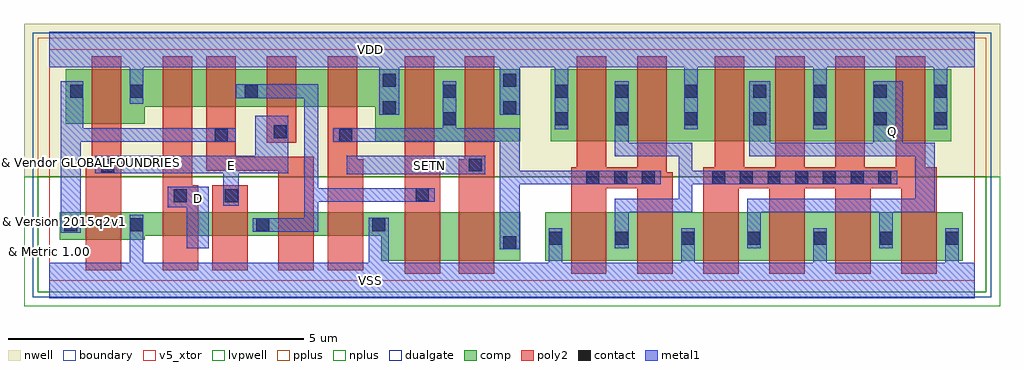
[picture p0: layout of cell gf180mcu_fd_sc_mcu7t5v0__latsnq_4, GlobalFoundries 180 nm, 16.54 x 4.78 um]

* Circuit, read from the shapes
.subckt gf180mcu_fd_sc_mcu7t5v0__latsnq_4 D E Q SETN VDD VSS
XM1 VSS E n1 VSUBS nfet_05v0 w=0.465u l=0.6u
XM2 n2 D VSS VSUBS nfet_05v0 w=0.395u l=0.6u
XM3 n3 E n2 VSUBS nfet_05v0 w=0.395u l=0.6u
XM4 n4 n1 n3 VSUBS nfet_05v0 w=0.395u l=0.6u
XM5 VSS n5 n4 VSUBS nfet_05v0 w=0.395u l=0.6u
XM6 n6 n3 VSS VSUBS nfet_05v0 w=0.82u l=0.6u
XM7 n5 SETN n6 VSUBS nfet_05v0 w=0.82u l=0.6u
XM8 n7 n5 VSS VSUBS nfet_05v0 w=0.82u l=0.6u m=2
XM9 Q n7 VSS VSUBS nfet_05v0 w=0.82u l=0.6u m=4
XM10 VDD E n1 n8 pfet_05v0 w=0.925u l=0.5u
XM11 n9 D VDD n8 pfet_05v0 w=0.63u l=0.5u
XM12 n3 n1 n9 n8 pfet_05v0 w=0.63u l=0.5u
XM13 n10 E n3 n8 pfet_05v0 w=0.63u l=0.5u
XM14 VDD n5 n10 n8 pfet_05v0 w=0.63u l=0.5u
XM15 n5 n3 VDD n8 pfet_05v0 w=1.22u l=0.5u
XM16 VDD SETN n5 n8 pfet_05v0 w=1.22u l=0.5u
XM17 n7 n5 VDD n8 pfet_05v0 w=1.22u l=0.5u m=2
XM18 Q n7 VDD n8 pfet_05v0 w=1.22u l=0.5u m=4
.ends

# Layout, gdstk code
import gdstk
lib = gdstk.Library(unit=1e-6, precision=1e-09)
def R(c, l, rs):  # rectangles x0, y0, x1, y1
    for r in rs: c.add(gdstk.rectangle(r[:2], r[2:], *l))
def A(c, l, x, y, w, h, nx, ny, dx, dy):  # array of equal rectangles
    R(c, l, [(x+i*dx, y+j*dy, x+i*dx+w, y+j*dy+h) for i in range(nx) for j in range(ny)])
def P(c, l, *ps):  # polygons
    for p in ps: c.add(gdstk.Polygon(p, *l))
boundary = (0, 0)
nwell = (21, 0)
comp = (22, 0)
poly2 = (30, 0)
pplus = (31, 0)
nplus = (32, 0)
contact = (33, 0)
metal1 = (34, 0)
dualgate = (55, 0)
v5_xtor = (112, 1)
lvpwell = (204, 0)

gf180mcu_fd_sc_mcu7t5v0_ = lib.new_cell('gf180mcu_fd_sc_mcu7t5v0__latsnq_4')
R(gf180mcu_fd_sc_mcu7t5v0_, boundary, [(0,0,15.68,3.92)])
R(gf180mcu_fd_sc_mcu7t5v0_, nwell, [(-0.43,1.76,16.11,4.35)])
R(gf180mcu_fd_sc_mcu7t5v0_, comp, [(8.4,0.34,15.48,1.16), (8.5,2.36,15.28,3.58)])
P(gf180mcu_fd_sc_mcu7t5v0_, comp, [(5.62,0.34),(5.62,0.765),(1.62,0.765),(1.62,0.695),(0.18,0.695),(0.18,1.16),(7.98,1.16),(7.98,0.34)],
  [(5.52,2.36),(5.52,2.95),(1.62,2.95),(1.62,2.655),(0.28,2.655),(0.28,3.58),(7.98,3.58),(7.98,2.36)])
R(gf180mcu_fd_sc_mcu7t5v0_, poly2, [(2.76,0.175,3.36,1.62), (3.68,2.34,4.18,3.8)])
P(gf180mcu_fd_sc_mcu7t5v0_, poly2, [(0.62,0.175),(0.62,2.065),(0.72,2.065),(0.72,3.8),(1.22,3.8),(1.22,0.175)],
  [(1.92,0.175),(1.92,3.8),(2.42,3.8),(2.42,1.62),(2.52,1.62),(2.52,0.175)],
  [(3.88,0.175),(3.88,1.86),(2.66,1.86),(2.66,3.8),(3.16,3.8),(3.16,2.1),(4.48,2.1),(4.48,0.175)],
  [(4.72,0.175),(4.72,3.8),(5.22,3.8),(5.22,2.06),(5.32,2.06),(5.32,0.175)],
  [(6.02,0.12),(6.02,3.8),(6.52,3.8),(6.52,2.06),(6.62,2.06),(6.62,0.12)],
  [(6.94,0.12),(6.94,2.06),(7.04,2.06),(7.04,3.8),(7.54,3.8),(7.54,0.12)],
  [(8.84,0.12),(8.84,1.925),(8.94,1.925),(8.94,3.8),(9.44,3.8),(9.44,1.925),(9.96,1.925),(9.96,3.8),(10.46,3.8),(10.46,1.84),(10.56,1.84),(10.56,0.12),(9.96,0.12),(9.96,1.565),(9.44,1.565),(9.44,0.12)],
  [(11.08,0.12),(11.08,1.925),(11.28,1.925),(11.28,3.8),(11.78,3.8),(11.78,1.925),(12.3,1.925),(12.3,3.8),(12.8,3.8),(12.8,1.925),(13.32,1.925),(13.32,3.8),(13.82,3.8),(13.82,1.925),(14.34,1.925),(14.34,3.8),(14.84,3.8),(14.84,1.925),(15.04,1.925),(15.04,0.12),(14.44,0.12),(14.44,1.565),(13.92,1.565),(13.92,0.12),(13.32,0.12),(13.32,1.565),(12.8,1.565),(12.8,0.12),(12.2,0.12),(12.2,1.565),(11.68,1.565),(11.68,0.12)])
R(gf180mcu_fd_sc_mcu7t5v0_, pplus, [(-0.2,1.76,15.88,4.12)])
R(gf180mcu_fd_sc_mcu7t5v0_, nplus, [(-0.2,-0.2,15.88,1.76)])
A(gf180mcu_fd_sc_mcu7t5v0_, contact, 8.47, 0.605, 0.22, 0.22, 7, 1, 1.12, 0)
A(gf180mcu_fd_sc_mcu7t5v0_, contact, 9.1, 1.635, 0.22, 0.22, 3, 1, 0.47, 0)
A(gf180mcu_fd_sc_mcu7t5v0_, contact, 11.23, 1.635, 0.22, 0.22, 7, 1, 0.47, 0)
A(gf180mcu_fd_sc_mcu7t5v0_, contact, 9.59, 2.63, 0.22, 0.22, 3, 2, 1.17, 0.47)
A(gf180mcu_fd_sc_mcu7t5v0_, contact, 12.95, 2.63, 0.22, 0.22, 3, 2, 1.02, 0.47)
R(gf180mcu_fd_sc_mcu7t5v0_, contact, [(7.69,0.535,7.91,0.755), (0.25,0.835,0.47,1.055), (1.37,0.835,1.59,1.055), (3.51,0.835,3.73,1.055), (5.47,0.835,5.69,1.055), (2.11,1.33,2.33,1.55), (2.97,1.33,3.19,1.55), (6.21,1.345,6.43,1.565), (0.88,1.84,1.1,2.06), (7.11,1.85,7.33,2.07), (2.8,2.355,3.02,2.575), (4.91,2.355,5.13,2.575), (3.8,2.41,4.02,2.63), (6.67,2.63,6.89,2.85), (8.57,2.63,8.79,2.85), (5.65,2.82,5.87,3.04), (7.69,2.82,7.91,3.04), (0.35,3.1,0.57,3.32), (1.37,3.1,1.59,3.32), (3.31,3.1,3.53,3.32), (6.67,3.1,6.89,3.32), (8.57,3.1,8.79,3.32), (5.65,3.29,5.87,3.51), (7.69,3.29,7.91,3.51)])
R(gf180mcu_fd_sc_mcu7t5v0_, metal1, [(5.04,1.8,7.39,2.12)])
P(gf180mcu_fd_sc_mcu7t5v0_, metal1, [(2.325,0.55),(2.325,1.24),(2.01,1.24),(2.01,1.59),(2.7,1.59),(2.7,0.55)],
  [(0.19,0.815),(0.19,3.38),(0.575,3.38),(0.575,2.58),(3.16,2.58),(3.16,2.35),(0.53,2.35),(0.53,0.815)],
  [(2.95,1.27),(2.95,1.82),(0.78,1.82),(0.78,2.12),(3.49,2.12),(3.49,2.795),(4.045,2.795),(4.045,1.82),(3.21,1.82),(3.21,1.27)],
  [(3.45,0.83),(3.45,1.06),(4.32,1.06),(4.32,3.095),(3.16,3.095),(3.16,3.325),(4.56,3.325),(4.56,1.57),(6.53,1.57),(6.53,1.34),(4.56,1.34),(4.56,0.83)],
  [(7.63,0.53),(7.63,2.35),(4.81,2.35),(4.81,2.58),(6.665,2.58),(6.665,3.38),(6.895,3.38),(6.895,2.58),(7.97,2.58),(7.97,1.86),(10.36,1.86),(10.36,1.63),(7.97,1.63),(7.97,0.53)],
  [(9.585,0.545),(9.585,1.39),(10.665,1.39),(10.665,2.11),(9.585,2.11),(9.585,3.38),(9.815,3.38),(9.815,2.34),(10.895,2.34),(10.895,1.86),(14.37,1.86),(14.37,1.63),(10.895,1.63),(10.895,1.16),(9.815,1.16),(9.815,0.545)],
  [(11.825,0.545),(11.825,1.39),(14.67,1.39),(14.67,2.11),(11.86,2.11),(11.86,3.38),(12.22,3.38),(12.22,2.34),(13.965,2.34),(13.965,3.38),(14.46,3.38),(14.46,2.34),(15,2.34),(15,1.16),(14.295,1.16),(14.295,0.545),(14.065,0.545),(14.065,1.16),(12.055,1.16),(12.055,0.545)],
  [(0,-0.3),(0,0.3),(1.365,0.3),(1.365,1.115),(1.595,1.115),(1.595,0.3),(5.41,0.3),(5.41,1.065),(5.75,1.065),(5.75,0.3),(8.465,0.3),(8.465,0.885),(8.695,0.885),(8.695,0.3),(10.705,0.3),(10.705,0.885),(10.935,0.885),(10.935,0.3),(12.945,0.3),(12.945,0.885),(13.175,0.885),(13.175,0.3),(15.185,0.3),(15.185,0.885),(15.415,0.885),(15.415,0.3),(15.68,0.3),(15.68,-0.3)],
  [(8.565,2.57),(8.565,3.62),(7.97,3.62),(7.97,2.815),(7.63,2.815),(7.63,3.62),(5.93,3.62),(5.93,2.815),(5.59,2.815),(5.59,3.62),(1.595,3.62),(1.595,3),(1.365,3),(1.365,3.62),(0,3.62),(0,4.22),(15.68,4.22),(15.68,3.62),(15.215,3.62),(15.215,2.57),(14.985,2.57),(14.985,3.62),(13.175,3.62),(13.175,2.57),(12.945,2.57),(12.945,3.62),(10.985,3.62),(10.985,2.57),(10.755,2.57),(10.755,3.62),(8.795,3.62),(8.795,2.57)])
R(gf180mcu_fd_sc_mcu7t5v0_, dualgate, [(-0.28,-0.28,15.96,4.2)])
R(gf180mcu_fd_sc_mcu7t5v0_, v5_xtor, [(0,0,15.68,3.92)])
R(gf180mcu_fd_sc_mcu7t5v0_, lvpwell, [(-0.43,-0.43,16.11,1.76)])
gf180mcu_fd_sc_mcu7t5v0_.add(gdstk.Label('Q', (14.28,2.52), layer=34, texttype=10))
gf180mcu_fd_sc_mcu7t5v0_.add(gdstk.Label('D', (2.52,1.4), layer=34, texttype=10))
gf180mcu_fd_sc_mcu7t5v0_.add(gdstk.Label('VDD', (5.44,3.92), layer=34, texttype=10))
gf180mcu_fd_sc_mcu7t5v0_.add(gdstk.Label('SETN', (6.44,1.96), layer=34, texttype=10))
gf180mcu_fd_sc_mcu7t5v0_.add(gdstk.Label('VSS', (5.44,0), layer=34, texttype=10))
gf180mcu_fd_sc_mcu7t5v0_.add(gdstk.Label('E', (3.08,1.96), layer=34, texttype=10))
gf180mcu_fd_sc_mcu7t5v0_.add(gdstk.Label('& Vendor GLOBALFOUNDRIES', (0,2), layer=63, texttype=63))
gf180mcu_fd_sc_mcu7t5v0_.add(gdstk.Label('& Product GF018hv5v_mcu_sc7', (0,1.5), layer=63, texttype=63))
gf180mcu_fd_sc_mcu7t5v0_.add(gdstk.Label('& Version 2015q2v1', (0,1), layer=63, texttype=63))
gf180mcu_fd_sc_mcu7t5v0_.add(gdstk.Label('& Metric 1.00', (0,0.5), layer=63, texttype=63))

lib.write_gds('gf180mcu_fd_sc_mcu7t5v0__latsnq_4.gds')
